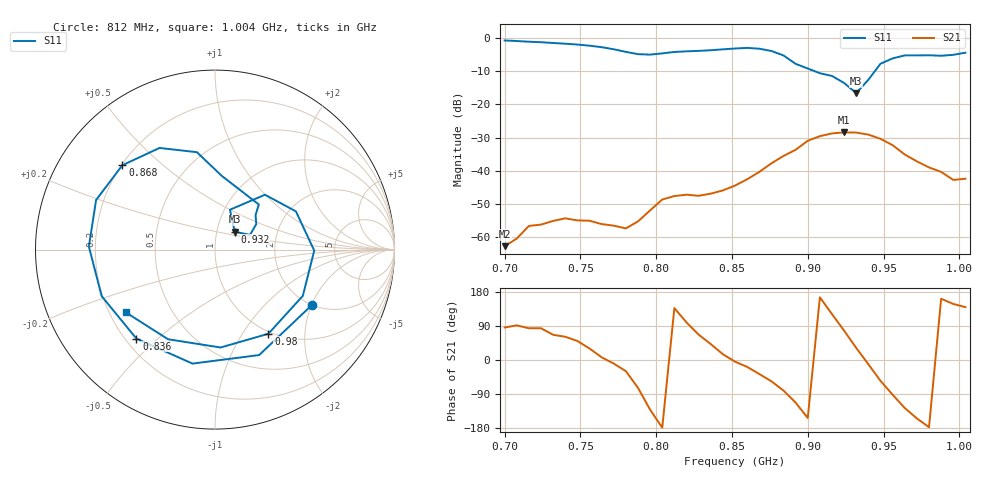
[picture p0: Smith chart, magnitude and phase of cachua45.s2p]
# Hz S RI R 50
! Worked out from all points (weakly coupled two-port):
!   39 points, 700 MHz to 1.004 GHz, reference 50 ohm
!   highest |S21| = -28.44 dB at 924 MHz (marker M1); lowest = -62.9 dB at 700 MHz (marker M2)
!   lowest |S11| = -16.6 dB at 932 MHz (marker M3), VSWR 1.35, Z = 61 + j12.4 ohm
!   |S11| at or under -10 dB: 905 MHz to 944.1 MHz (39.16 MHz wide, 4.24 % of centre)
!   S12 and S22 are empty: the file has one direction only
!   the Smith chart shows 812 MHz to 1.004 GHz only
!   S11 on the Smith chart (normalised r, x): 812 MHz: 2.02, -2.02; 836 MHz: 0.24, -0.43; 868 MHz: 0.20, +0.37; 932 MHz: 1.22, +0.25; 980 MHz: 0.97, -1.31; 1.004 GHz: 0.27, -0.30
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7e8  0.7674 0.5262  5.32e-05 0.000717  0 0  0 0
7.24e8  0.8343 -0.2644  0.000165 0.00151  0 0  0 0
7.4e8  0.4439 -0.7026  0.00091 0.00166  0 0  0 0
7.56e8  -0.1974 -0.7499  0.00151 0.000882  0 0  0 0
7.72e8  -0.6584 -0.1874  0.00145 -0.000241  0 0  0 0
7.8e8  -0.58 0.2325  0.00116 -0.000655  0 0  0 0
7.88e8  -0.222 0.5331  0.000484 -0.00163  0 0  0 0
7.96e8  0.2634 0.5037  -0.00165 -0.00188  0 0  0 0
8.04e8  0.5751 0.1444  -0.00365 -9.66e-05  0 0  0 0
8.12e8  0.5427 -0.3062  -0.00301 0.00281  0 0  0 0
8.2e8  0.246 -0.5876  -0.000685 0.00426  0 0  0 0
8.36e8  -0.4377 -0.4961  0.00333 0.003  0 0  0 0
8.52e8  -0.7027 0.0165  0.00591 -0.000446  0 0  0 0
8.68e8  -0.5162 0.4701  0.00763 -0.00573  0 0  0 0
8.84e8  -0.1008 0.5427  0.0027 -0.0164  0 0  0 0
9.08e8  0.2261 0.1928  -0.0321 0.00838  0 0  0 0
9.24e8  0.1949 0.0819  0.00829 0.0369  0 0  0 0
9.32e8  0.11 0.0997  0.032 0.0198  0 0  0 0
9.56e8  0.4508 0.213  -0.000724 -0.0242  0 0  0 0
9.64e8  0.5528 -0.00548  -0.0105 -0.014  0 0  0 0
9.8e8  0.2975 -0.4688  -0.0112 -0.000523  0 0  0 0
1.004e9  -0.4961 -0.3502  -0.00573 0.00489  0 0  0 0
